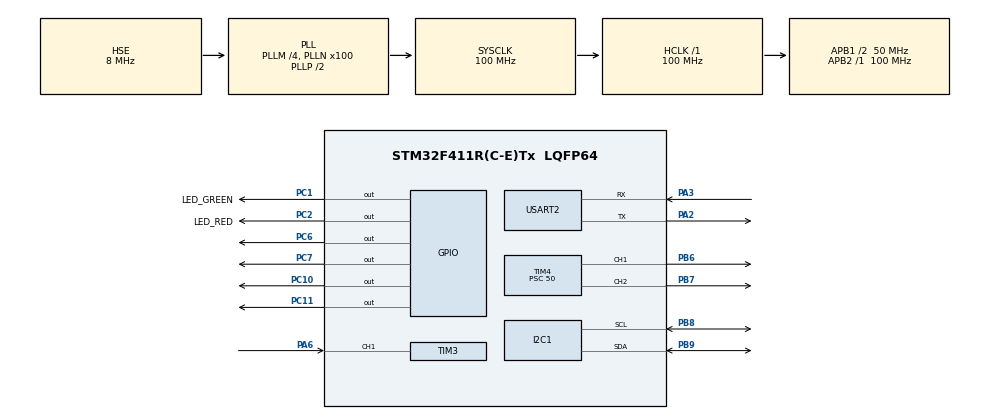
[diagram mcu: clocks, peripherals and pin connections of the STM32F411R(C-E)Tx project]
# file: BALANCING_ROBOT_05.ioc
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Mcu.Family=STM32F4
Mcu.Name=STM32F411R(C-E)Tx
Mcu.Package=LQFP64
NVIC.I2C1_EV_IRQn=true\:0\:0\:false\:false\:true\:true\:true\:true
NVIC.PriorityGroup=NVIC_PRIORITYGROUP_4
NVIC.TIM3_IRQn=true\:0\:0\:false\:false\:true\:true\:true\:true
NVIC.TIM4_IRQn=true\:0\:0\:false\:false\:true\:true\:true\:true
NVIC.USART2_IRQn=true\:0\:0\:false\:false\:true\:true\:true\:true
PA13.Mode=Serial_Wire
PA13.Signal=SYS_JTMS-SWDIO
PA14.Mode=Serial_Wire
PA14.Signal=SYS_JTCK-SWCLK
PA2.Mode=Asynchronous
PA2.Signal=USART2_TX
PA3.Mode=Asynchronous
PA3.Signal=USART2_RX
PA6.Signal=S_TIM3_CH1
PB6.Signal=S_TIM4_CH1
PB7.Signal=S_TIM4_CH2
PB8.Mode=I2C
PB8.Signal=I2C1_SCL
PB9.Mode=I2C
PB9.Signal=I2C1_SDA
PC1.GPIO_Label=LED_GREEN
PC1.Signal=GPIO_Output
PC10.Signal=GPIO_Output
PC11.Signal=GPIO_Output
PC2.GPIO_Label=LED_RED
PC2.Signal=GPIO_Output
PC6.Signal=GPIO_Output
PC7.Signal=GPIO_Output
PH0\ -\ OSC_IN.Mode=HSE-External-Clock-Source
PH0\ -\ OSC_IN.Signal=RCC_OSC_IN
PH1\ -\ OSC_OUT.Mode=HSE-External-Clock-Source
PH1\ -\ OSC_OUT.Signal=RCC_OSC_OUT
ProjectManager.HeapSize=0x200
ProjectManager.StackSize=0x400
ProjectManager.TargetToolchain=STM32CubeIDE
RCC.48MHZClocksFreq_Value=50000000
RCC.AHBFreq_Value=100000000
RCC.APB1CLKDivider=RCC_HCLK_DIV2
RCC.APB1Freq_Value=50000000
RCC.APB1TimFreq_Value=100000000
RCC.APB2Freq_Value=100000000
RCC.APB2TimFreq_Value=100000000
RCC.CortexFreq_Value=100000000
RCC.HCLKFreq_Value=100000000
RCC.HSE_VALUE=8000000
RCC.HSI_VALUE=16000000
RCC.LSE_VALUE=32768
RCC.PLLM=4
RCC.PLLN=100
RCC.PLLSourceVirtual=RCC_PLLSOURCE_HSE
RCC.SYSCLKFreq_VALUE=100000000
RCC.SYSCLKSource=RCC_SYSCLKSOURCE_PLLCLK
RCC.VCOOutputFreq_Value=200000000
SH.S_TIM3_CH1.0=TIM3_CH1,Input_Capture1_from_TI1
SH.S_TIM4_CH1.0=TIM4_CH1,PWM Generation1 CH1
SH.S_TIM4_CH2.0=TIM4_CH2,PWM Generation2 CH2
TIM3.Channel-Input_Capture1_from_TI1=TIM_CHANNEL_1
TIM3.Prescaler=100-1
TIM4.Channel-PWM\ Generation1\ CH1=TIM_CHANNEL_1
TIM4.Channel-PWM\ Generation2\ CH2=TIM_CHANNEL_2
TIM4.Period=100
TIM4.Prescaler=50
TIM5.Period=100
TIM5.Prescaler=40
USART2.VirtualMode=VM_ASYNC
VP_TIM3_VS_ClockSourceINT.Mode=Internal
VP_TIM4_VS_ClockSourceINT.Mode=Internal
VP_TIM5_VS_ClockSourceINT.Mode=Internal
board=custom

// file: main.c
/* USER CODE BEGIN Header */
/**
  ******************************************************************************
  * @file           : main.c
  * @brief          : Main program body
  ******************************************************************************
  * @attention
  *
  * Copyright (c) 2025 STMicroelectronics.
  * All rights reserved.
  *
  * This software is licensed under terms that can be found in the LICENSE file
  * in the root directory of this software component.
  * If no LICENSE file comes with this software, it is provided AS-IS.
  *
  ******************************************************************************
  */
/* USER CODE END Header */
#include "main.h"
#include "i2c.h"
#include "tim.h"
#include "usart.h"
#include "gpio.h"

/* USER CODE BEGIN Includes */
#include "stdio.h"
#include "stdbool.h"
#include "math.h"
#include "delay.h"
#include "motor.h"
#include "string.h"
#include "accel_i2c.h"
#include "led.h"

// 디버깅용 전역변수 선언
 volatile int16_t live_accel_x = 0;
 volatile int16_t live_accel_y = 0;
 volatile int16_t live_accel_z = 0;
 volatile int16_t live_gyro_x = 0;
 volatile float live_rate = 0.0;
 volatile float live_pitch = 0.0;
 volatile float live_predicted_pitch = 0.0;

/* USER CODE END Includes */

/* USER CODE BEGIN PM */

// printf로 출력할 내용을 USART로 내보내 주는 재정의 함수
#ifdef __GNUC__
/* With GCC small printf (option LD Linker->Libraries->Small printf
 * set to 'Yes') calls __io_putchar() */
#define PUTCHAR_PROTOTYPE int  __io_putchar(int ch)
#else
#define PUTCHAR_PROTOTYPE int  fputc(int ch, FILE *f)
#endif /* __GNUC__*/

/** @brief Retargets the C library printf function to the USART.
 *  @param None
 *  @retval None
 */
PUTCHAR_PROTOTYPE
{
  /* Place your implementation of fputc here */
  /* e.g. write a character to the USART2 and Loop
     until the end of transmission */
  if(ch == '\n')
  {
    HAL_UART_Transmit(&huart2, (uint8_t*) "\r", 1, 0xFFFF);
  }
    HAL_UART_Transmit(&huart2, (uint8_t*) &ch, 1, 0xFFFF);
}

/* USER CODE END PM */

void SystemClock_Config(void);

int main(void)
{

  /* MCU Configuration--------------------------------------------------------*/

  /* Reset of all peripherals, Initializes the Flash interface and the Systick. */
  HAL_Init();

  /* Configure the system clock */
  SystemClock_Config();

  /* Initialize all configured peripherals */
  MX_GPIO_Init();
  MX_I2C1_Init();
  MX_USART2_UART_Init();
  MX_TIM3_Init();
  MX_TIM4_Init();
  MX_TIM5_Init();
  /* USER CODE BEGIN 2 */

  // pwm start
  HAL_TIM_PWM_Start(&htim4, TIM_CHANNEL_1);
  HAL_TIM_PWM_Start(&htim4, TIM_CHANNEL_2);

//  MPU6050_Init_checking(&hi2c1);
//  MPU6050_Init(&hi2c1);

// 읽기 제어 시간적 분리
// 센서 읽기
  static uint32_t last_sensor_tick = 0;
// 모터제어
  static uint32_t last_motor_tick =0;

  /* USER CODE END 2 */

  /* Infinite loop */
  /* USER CODE BEGIN WHILE */
  while (1)
  {
	  if(HAL_GetTick() - last_sensor_tick > 5)
	  {
		  last_sensor_tick = HAL_GetTick();
		  if(!is_calibration_complete())
		  {
			 mpu6050_communication();
		  }
		  else
		  {
			 mpu6050_communication();
			 if(is_sensor_data_ready())
			 {
				 // 테스트용 accel_x 가져오기,
				 int16_t corrected_accel_x = get_accel_x();
				 int16_t corrected_accel_y = get_accel_y();
				 int16_t corrected_accel_z = get_accel_z();
				 int16_t corrected_gyro_x  = get_gyro_x();

				 // 정확한 pitch 각도 계산(도 단위)
				 float pitch = atan2(-corrected_accel_x,
		                   sqrt(corrected_accel_y * corrected_accel_y +
		                        corrected_accel_z * corrected_accel_z)) * 180.0 / M_PI;

				 float rate = corrected_gyro_x / 131.0; // 각속도(도/초)
				 float predicted_pitch = pitch + (rate * 0.10);  // 50ms 예측

				 // 미래예측
				 int16_t future_angle = corrected_accel_x + (corrected_gyro_x /5); // 20은 튜닝 계수

				 //디버깅용 전역 변수 업데이트
				 live_accel_x = corrected_accel_x;
				 live_accel_y = corrected_accel_y;
				 live_accel_z = corrected_accel_z;
				 live_gyro_x = corrected_gyro_x;
				 live_rate = rate;
				 live_pitch = pitch;
				 live_predicted_pitch = predicted_pitch;

				 if(HAL_GetTick() - last_motor_tick >= 5)
				 {
					 last_motor_tick = HAL_GetTick();

				        if(live_predicted_pitch  > 0.0 && live_predicted_pitch < 3.0)
				        {
				            Motor_front_control(MOTOR_SPEED_50, MOTOR_SPEED_50);
				        }
				        else if(live_predicted_pitch > 3.1 && live_predicted_pitch < 9.0)
				        {
				        	 Motor_front_control(MOTOR_SPEED_60, MOTOR_SPEED_60);
				        }
				        else if(live_predicted_pitch > 9.1 && live_predicted_pitch < 15.0)
				        {
				        	 Motor_front_control(MOTOR_SPEED_90, MOTOR_SPEED_90);
				        }
				        else if(live_predicted_pitch > 15.1 && live_predicted_pitch < 30.0)
				        {
				        	 Motor_front_control(MOTOR_SPEED_99, MOTOR_SPEED_99);
				        }

				        else if(live_predicted_pitch  < 0.0 && live_predicted_pitch > -3.0)
				        {
				        	Motor_back_control(MOTOR_SPEED_50, MOTOR_SPEED_50);
				        }
				        else if(live_predicted_pitch  < -3.1 && live_predicted_pitch > -9.0)
				        {
				        	Motor_back_control(MOTOR_SPEED_50, MOTOR_SPEED_50);
				        }
				        else if(live_predicted_pitch  < -9.1 && live_predicted_pitch > -15.0)
				        {
				        	Motor_back_control(MOTOR_SPEED_50, MOTOR_SPEED_50);
				        }
				        else if(live_predicted_pitch  < -15.1 && live_predicted_pitch > -30.0)
				        {
				        	Motor_back_control(MOTOR_SPEED_50, MOTOR_SPEED_50);
				        }

				 }
				 clear_sensor_data_flag();

			 }

		  }
	  }

    /* USER CODE END WHILE */

  }
}

void SystemClock_Config(void)
{
  RCC_OscInitTypeDef RCC_OscInitStruct = {0};
  RCC_ClkInitTypeDef RCC_ClkInitStruct = {0};

  /** Configure the main internal regulator output voltage
  */
  __HAL_RCC_PWR_CLK_ENABLE();
  __HAL_PWR_VOLTAGESCALING_CONFIG(PWR_REGULATOR_VOLTAGE_SCALE1);

  /** Initializes the RCC Oscillators according to the specified parameters
  * in the RCC_OscInitTypeDef structure.
  */
  RCC_OscInitStruct.OscillatorType = RCC_OSCILLATORTYPE_HSE;
  RCC_OscInitStruct.HSEState = RCC_HSE_BYPASS;
  RCC_OscInitStruct.PLL.PLLState = RCC_PLL_ON;
  RCC_OscInitStruct.PLL.PLLSource = RCC_PLLSOURCE_HSE;
  RCC_OscInitStruct.PLL.PLLM = 4;
  RCC_OscInitStruct.PLL.PLLN = 100;
  RCC_OscInitStruct.PLL.PLLP = RCC_PLLP_DIV2;
  RCC_OscInitStruct.PLL.PLLQ = 4;
  if (HAL_RCC_OscConfig(&RCC_OscInitStruct) != HAL_OK)
  {
    Error_Handler();
  }

  /** Initializes the CPU, AHB and APB buses clocks
  */
  RCC_ClkInitStruct.ClockType = RCC_CLOCKTYPE_HCLK|RCC_CLOCKTYPE_SYSCLK
                              |RCC_CLOCKTYPE_PCLK1|RCC_CLOCKTYPE_PCLK2;
  RCC_ClkInitStruct.SYSCLKSource = RCC_SYSCLKSOURCE_PLLCLK;
  RCC_ClkInitStruct.AHBCLKDivider = RCC_SYSCLK_DIV1;
  RCC_ClkInitStruct.APB1CLKDivider = RCC_HCLK_DIV2;
  RCC_ClkInitStruct.APB2CLKDivider = RCC_HCLK_DIV1;

  if (HAL_RCC_ClockConfig(&RCC_ClkInitStruct, FLASH_LATENCY_3) != HAL_OK)
  {
    Error_Handler();
  }
}

void Error_Handler(void)
{
  __disable_irq();
  while (1)
  {
  }
}
